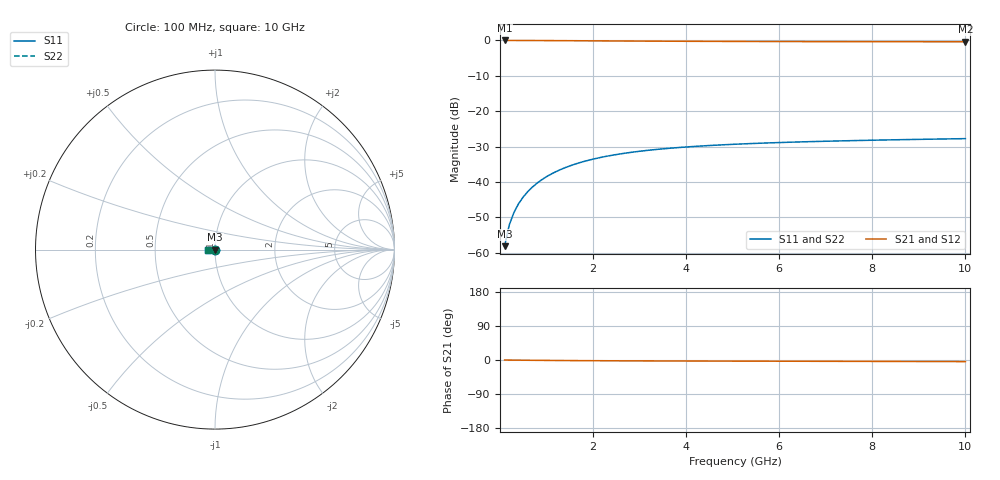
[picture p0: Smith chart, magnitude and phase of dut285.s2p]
! Touchstone file exported from HFSS 2024.1.0
!  File:  C:/UserFiles/LocalFiles/RDL_TSV_Batchsim/temp_TSV1_285_1779393669.aedt
!  Generated:  04:07:58 AM May 22, 2026
!  Design:  TSV1
!  Project:  temp_TSV1_285_1779393669
!  Setup:  Setup1
!  Solution:  Sweep
! Variables:
!  dtsv = 13.44um
!  hbump = 3um
!  htsv = 62.07um
!  lrdl = 252.1521522um
!  p = 40
!  p1 = 58.31um
!  t = 500um
!  trdl = 3um
!  wrdl = 24.89489489um
# GHz S MA R 50.000000
! Terminal data exported
! Port[1] = TSV22_T1
! Port[2] = TSV22_T2
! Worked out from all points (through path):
!   100 points, 100 MHz to 10 GHz, reference 50 ohm
!   highest |S21| = 0.00 dB at 100 MHz (marker M1); lowest = -0.4 dB at 10 GHz (marker M2)
!   lowest |S11| = -58.2 dB at 100 MHz (marker M3), VSWR 1.00, Z = 50 - j0.123 ohm
!   |S11| at or under -10 dB: start of sweep to end of sweep
!   |S22| runs from -58.2 to -27.8 dB; largest |S21 - S12| = 4.3e-15
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0.1  0.001235 -88.6  0.9999 -0.1  0.9999 -0.1  0.001235 -88.6
! Gamma 0 0 0 0
! Port Impedance 50 0 50 0
0.2  0.002467 -92.1  0.9997 -0.2  0.9997 -0.2  0.002467 -92.1
0.3  0.003698 -94.6  0.9995 -0.3  0.9995 -0.3  0.003698 -94.6
0.4  0.00492 -96.9  0.9992 -0.5  0.9992 -0.5  0.00492 -96.9
0.5  0.00613 -99.0  0.9988 -0.6  0.9988 -0.6  0.00613 -99.0
0.6  0.007322 -101.1  0.9983 -0.7  0.9983 -0.7  0.007322 -101.1
0.7  0.008493 -103.1  0.9978 -0.8  0.9978 -0.8  0.008493 -103.1
0.8  0.00964 -105.1  0.9972 -0.9  0.9972 -0.9  0.00964 -105.1
0.9  0.01076 -107.1  0.9966 -1.0  0.9966 -1.0  0.01076 -107.1
1.1  0.01291 -110.8  0.9951 -1.2  0.9951 -1.2  0.01291 -110.8
1.4  0.01591 -116.2  0.9928 -1.4  0.9928 -1.4  0.01591 -116.2
1.6  0.01773 -119.5  0.991 -1.6  0.991 -1.6  0.01773 -119.5
1.8  0.01943 -122.7  0.9893 -1.7  0.9893 -1.7  0.01943 -122.7
2.1  0.02173 -127.1  0.9867 -1.9  0.9867 -1.9  0.02173 -127.1
2.5  0.02438 -132.5  0.9834 -2.1  0.9834 -2.1  0.02438 -132.5
2.9  0.02662 -137.3  0.9803 -2.3  0.9803 -2.3  0.02662 -137.3
3.4  0.02894 -142.7  0.9768 -2.5  0.9768 -2.5  0.02894 -142.7
4.2  0.03182 -150.0  0.9722 -2.7  0.9722 -2.7  0.03182 -150.0
5.1  0.03421 -156.7  0.9682 -3.0  0.9682 -3.0  0.03421 -156.7
6.7  0.03716 -166.3  0.9633 -3.4  0.9633 -3.4  0.03716 -166.3
8.4  0.03932 -174.4  0.96 -3.8  0.96 -3.8  0.03932 -174.4
10  0.04091 179.3  0.9578 -4.2  0.9578 -4.2  0.04091 179.3
